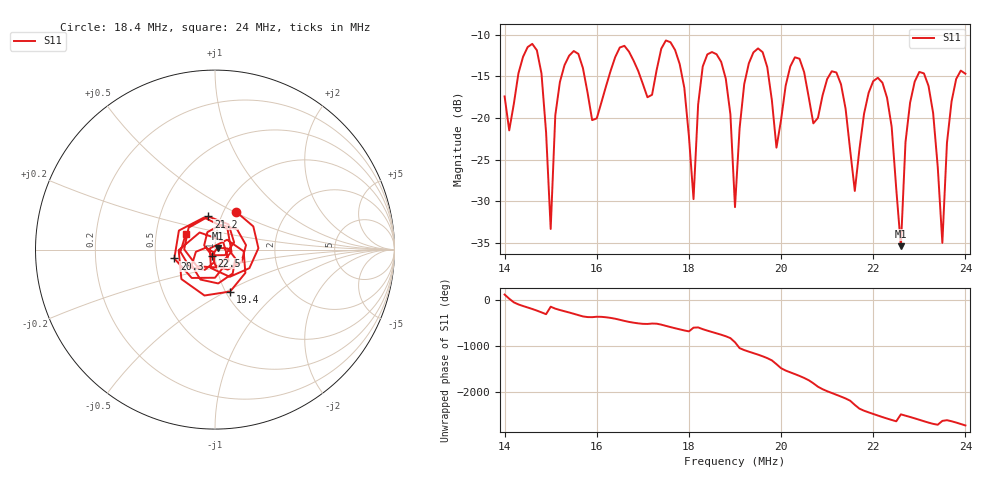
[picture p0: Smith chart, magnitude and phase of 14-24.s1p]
# HZ S RI R 50
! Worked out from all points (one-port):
!   101 points, 14 MHz to 24 MHz, reference 50 ohm
!   lowest |S11| = -35.4 dB at 22.6 MHz (marker M1), VSWR 1.03, Z = 51.4 + j0.983 ohm
!   |S11| at or under -10 dB: start of sweep to end of sweep
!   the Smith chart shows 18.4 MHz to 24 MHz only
!   S11 on the Smith chart (normalised r, x): 18.4 MHz: 1.14, +0.51; 19.4 MHz: 1.05, -0.52; 20.3 MHz: 0.63, -0.07; 21.2 MHz: 0.87, +0.33; 22.5 MHz: 0.96, -0.06; 24 MHz: 0.71, +0.13
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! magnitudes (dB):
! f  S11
! 14 MHz  -17.4
! 14.7 MHz  -11.8
! 15 MHz  -33.3
! 15.1 MHz  -19.7
! 15.3 MHz  -13.6
! 15.9 MHz  -20.3
! 16.5 MHz  -11.5
! 17.8 MHz  -13.5
! 18.1 MHz  -29.8
! 18.2 MHz  -18.4
! 18.4 MHz  -12.3
! 18.8 MHz  -15.3
! 19 MHz  -30.7
! 19.4 MHz  -12.1
! 19.9 MHz  -23.6
! 20.3 MHz  -12.7
! 20.7 MHz  -20.6
! 21.2 MHz  -14.5
! 21.5 MHz  -23.9
! 21.6 MHz  -28.8
! 22.1 MHz  -15.2
! 22.5 MHz  -28.6
! 22.6 MHz  -35.4
! 22.8 MHz  -18.1
! 23.2 MHz  -16.1
! 23.5 MHz  -35.0
! 23.7 MHz  -18.0
! 24 MHz  -14.7
